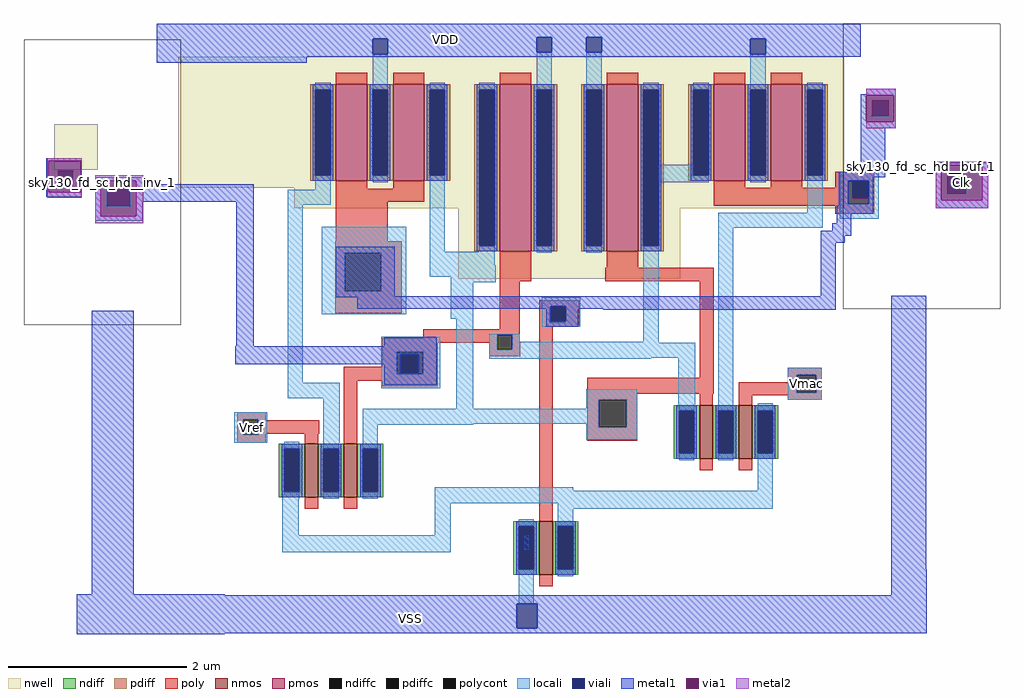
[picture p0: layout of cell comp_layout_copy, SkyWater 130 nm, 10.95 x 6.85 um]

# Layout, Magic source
magic
tech sky130A
magscale 1 2
<< nwell >>
rect -186 -330 -88 -228
rect 92 -370 360 -76
rect 446 -394 644 -372
rect 446 -402 556 -394
rect 1294 -410 1548 -370
rect 814 -530 1118 -518
rect 814 -552 884 -530
rect 1054 -552 1118 -530
<< poly >>
rect 1566 -356 1654 -334
rect 1566 -370 1606 -356
rect 446 -402 644 -372
rect 1294 -392 1606 -370
rect 1640 -392 1654 -356
rect 446 -490 562 -402
rect 1294 -410 1654 -392
rect 1566 -428 1654 -410
rect 444 -516 594 -490
rect 444 -602 466 -516
rect 548 -602 594 -516
rect 444 -652 594 -602
rect 814 -580 884 -528
rect 1054 -550 1124 -512
rect 1050 -580 1294 -550
rect 814 -688 858 -580
rect 642 -700 858 -688
rect 642 -708 808 -700
rect 550 -718 808 -708
rect 550 -738 674 -718
rect 550 -772 582 -738
rect 464 -788 582 -772
rect 642 -788 674 -738
rect 790 -734 808 -718
rect 842 -716 858 -700
rect 902 -638 992 -622
rect 902 -672 926 -638
rect 960 -672 992 -638
rect 902 -682 992 -672
rect 842 -734 860 -716
rect 790 -748 860 -734
rect 464 -803 674 -788
rect 224 -890 288 -874
rect 224 -924 238 -890
rect 272 -892 288 -890
rect 272 -922 408 -892
rect 272 -924 288 -922
rect 224 -942 288 -924
rect 464 -944 494 -803
rect 550 -816 674 -803
rect 902 -1112 932 -682
rect 1262 -796 1294 -580
rect 1010 -832 1294 -796
rect 1460 -790 1536 -774
rect 1460 -806 1480 -790
rect 1350 -830 1480 -806
rect 1524 -830 1536 -790
rect 1010 -846 1122 -832
rect 1350 -836 1536 -830
rect 1460 -846 1536 -836
rect 1010 -908 1036 -846
rect 1098 -908 1122 -846
rect 1010 -938 1122 -908
<< polycont >>
rect 1606 -392 1640 -356
rect 466 -602 548 -516
rect 582 -788 642 -738
rect 808 -734 842 -700
rect 926 -672 960 -638
rect 238 -924 272 -890
rect 1480 -830 1524 -790
rect 1036 -908 1098 -846
<< locali >>
rect 528 -134 562 -70
rect 896 -136 930 -66
rect 1008 -134 1042 -66
rect 1376 -134 1410 -70
rect 1168 -358 1250 -318
rect 1576 -354 1664 -334
rect 400 -374 434 -358
rect 338 -408 434 -374
rect 338 -808 372 -408
rect 414 -516 604 -458
rect 414 -602 466 -516
rect 548 -602 604 -516
rect 656 -514 690 -358
rect 1504 -426 1538 -356
rect 1304 -460 1538 -426
rect 1576 -406 1596 -354
rect 1642 -406 1664 -354
rect 1576 -440 1664 -406
rect 656 -544 802 -514
rect 656 -570 804 -544
rect 414 -654 604 -602
rect 704 -582 804 -570
rect 704 -664 754 -582
rect 548 -738 680 -704
rect 548 -788 582 -738
rect 642 -788 680 -738
rect 338 -842 454 -808
rect 548 -820 680 -788
rect 218 -890 292 -874
rect 218 -924 238 -890
rect 272 -924 292 -890
rect 218 -942 292 -924
rect 418 -942 454 -842
rect 716 -866 754 -664
rect 908 -636 994 -616
rect 908 -638 928 -636
rect 908 -672 926 -638
rect 962 -670 994 -636
rect 960 -672 994 -670
rect 908 -682 994 -672
rect 790 -700 858 -698
rect 790 -734 808 -700
rect 842 -716 858 -700
rect 1136 -716 1170 -514
rect 842 -718 1170 -716
rect 842 -734 1252 -718
rect 790 -752 1252 -734
rect 790 -754 1154 -752
rect 1008 -846 1122 -822
rect 1008 -866 1036 -846
rect 506 -900 1036 -866
rect 506 -902 754 -900
rect 506 -940 540 -902
rect 1008 -908 1036 -900
rect 1098 -908 1122 -846
rect 1214 -856 1252 -752
rect 1304 -856 1338 -460
rect 1460 -790 1536 -774
rect 1460 -830 1480 -790
rect 1524 -830 1536 -790
rect 1460 -846 1536 -830
rect 1008 -936 1122 -908
rect 668 -1050 978 -1042
rect 1392 -1050 1426 -978
rect 326 -1150 362 -1050
rect 668 -1078 1426 -1050
rect 668 -1150 704 -1078
rect 944 -1090 1426 -1078
rect 944 -1118 978 -1090
rect 326 -1188 704 -1150
rect 868 -1184 880 -1150
rect 856 -1304 890 -1238
<< viali >>
rect 528 -70 562 -36
rect 896 -66 930 -32
rect 1008 -66 1042 -32
rect 1376 -70 1410 -36
rect 1648 -210 1686 -174
rect -178 -366 -144 -332
rect -68 -412 -16 -372
rect 1596 -356 1642 -354
rect 1596 -392 1606 -356
rect 1606 -392 1640 -356
rect 1640 -392 1642 -356
rect 1596 -406 1642 -392
rect 1818 -384 1860 -342
rect 590 -786 632 -744
rect 928 -638 962 -636
rect 928 -670 960 -638
rect 960 -670 962 -638
rect 852 -1358 898 -1304
<< metal1 >>
rect 44 -32 1624 -2
rect 44 -36 896 -32
rect 44 -70 528 -36
rect 562 -66 896 -36
rect 930 -66 1008 -32
rect 1042 -36 1624 -32
rect 1042 -66 1376 -36
rect 562 -70 1376 -66
rect 1410 -70 1624 -36
rect 44 -76 1624 -70
rect 44 -90 380 -76
rect 1636 -160 1702 -148
rect 1624 -162 1702 -160
rect 1624 -222 1636 -162
rect 1698 -222 1702 -162
rect 1624 -236 1702 -222
rect -204 -310 -124 -304
rect -204 -380 -198 -310
rect -126 -380 -124 -310
rect 1624 -334 1678 -236
rect 1574 -346 1678 -334
rect 1792 -320 1910 -312
rect -204 -390 -124 -380
rect -94 -354 12 -346
rect -94 -434 -82 -354
rect -2 -362 12 -354
rect 1574 -354 1652 -346
rect -2 -402 262 -362
rect -2 -434 12 -402
rect -94 -444 12 -434
rect -102 -1282 -8 -646
rect 222 -726 262 -402
rect 1574 -406 1596 -354
rect 1642 -406 1652 -354
rect 1574 -410 1652 -406
rect 1570 -428 1652 -410
rect 1792 -398 1804 -320
rect 1896 -398 1910 -320
rect 1792 -416 1910 -398
rect 1570 -450 1602 -428
rect 1560 -466 1602 -450
rect 1534 -478 1602 -466
rect 1534 -494 1588 -478
rect 446 -614 578 -502
rect 1534 -614 1568 -494
rect 446 -616 1568 -614
rect 494 -636 1568 -616
rect 494 -642 928 -636
rect 918 -670 928 -642
rect 962 -642 1568 -636
rect 962 -670 990 -642
rect 1046 -644 1568 -642
rect 918 -682 990 -670
rect 554 -726 672 -706
rect 220 -744 672 -726
rect 220 -766 590 -744
rect 554 -786 590 -766
rect 632 -786 672 -744
rect 554 -812 672 -786
rect 1692 -1226 1770 -612
rect -136 -1284 196 -1282
rect 1692 -1284 1772 -1226
rect -136 -1304 1772 -1284
rect -136 -1358 852 -1304
rect 898 -1358 1772 -1304
rect -136 -1370 1772 -1358
rect -136 -1372 196 -1370
<< via1 >>
rect 1636 -174 1698 -162
rect 1636 -210 1648 -174
rect 1648 -210 1686 -174
rect 1686 -210 1698 -174
rect 1636 -222 1698 -210
rect -198 -332 -126 -310
rect -198 -366 -178 -332
rect -178 -366 -144 -332
rect -144 -366 -126 -332
rect -198 -380 -126 -366
rect -82 -372 -2 -354
rect -82 -412 -68 -372
rect -68 -412 -16 -372
rect -16 -412 -2 -372
rect -82 -434 -2 -412
rect 1804 -342 1896 -320
rect 1804 -384 1818 -342
rect 1818 -384 1860 -342
rect 1860 -384 1896 -342
rect 1804 -398 1896 -384
<< metal2 >>
rect 1636 -162 1702 -148
rect 1698 -222 1702 -162
rect 1636 -236 1702 -222
rect -202 -310 -124 -304
rect -202 -380 -198 -310
rect -126 -380 -124 -310
rect 1792 -320 1910 -314
rect -202 -392 -124 -380
rect -94 -354 14 -342
rect -94 -434 -82 -354
rect -2 -434 14 -354
rect 1792 -398 1804 -320
rect 1896 -398 1910 -320
rect 1792 -416 1910 -398
rect -94 -450 14 -434
use sky130_fd_pr__nfet_01v8_5TZ6LE  sky130_fd_pr__nfet_01v8_5TZ6LE_0
transform 1 0 479 0 1 -1004
box -73 -86 73 86
use sky130_fd_pr__nfet_01v8_5TZ6LE  sky130_fd_pr__nfet_01v8_5TZ6LE_1
transform 1 0 391 0 1 -1004
box -73 -86 73 86
use sky130_fd_pr__nfet_01v8_5TZ6LE  sky130_fd_pr__nfet_01v8_5TZ6LE_2
transform 1 0 1365 0 1 -918
box -73 -86 73 86
use sky130_fd_pr__nfet_01v8_5TZ6LE  sky130_fd_pr__nfet_01v8_5TZ6LE_3
transform 1 0 1277 0 1 -918
box -73 -86 73 86
use sky130_fd_pr__nfet_01v8_5TZ6LE  sky130_fd_pr__nfet_01v8_5TZ6LE_4
transform -1 0 917 0 -1 -1178
box -73 -86 73 86
use sky130_fd_pr__pfet_01v8_XCJR5L  sky130_fd_pr__pfet_01v8_XCJR5L_0
transform 1 0 609 0 1 -246
box -129 -170 129 170
use sky130_fd_pr__pfet_01v8_XCJR5L  sky130_fd_pr__pfet_01v8_XCJR5L_1
transform 1 0 481 0 1 -246
box -129 -170 129 170
use sky130_fd_pr__pfet_01v8_XCJR5L  sky130_fd_pr__pfet_01v8_XCJR5L_2
transform 1 0 1329 0 1 -246
box -129 -170 129 170
use sky130_fd_pr__pfet_01v8_XCJR5L  sky130_fd_pr__pfet_01v8_XCJR5L_3
transform 1 0 1457 0 1 -246
box -129 -170 129 170
use sky130_fd_pr__pfet_01v8_XCZ6WP  sky130_fd_pr__pfet_01v8_XCZ6WP_0
transform 1 0 849 0 1 -325
box -129 -249 129 249
use sky130_fd_pr__pfet_01v8_XCZ6WP  sky130_fd_pr__pfet_01v8_XCZ6WP_1
transform 1 0 1089 0 1 -325
box -129 -249 129 249
use sky130_fd_sc_hd__buf_1  sky130_fd_sc_hd__buf_1_0 ece393/open_pdks/share/pdk/sky130A/libs.ref/sky130_fd_sc_hd/mag
transform -1 0 1898 0 1 -594
box -38 -48 314 592
use sky130_fd_sc_hd__inv_1  sky130_fd_sc_hd__inv_1_1 ece393/open_pdks/share/pdk/sky130A/libs.ref/sky130_fd_sc_hd/mag
transform -1 0 60 0 1 -630
box -38 -48 314 592
<< labels >>
flabel metal2 1804 -398 1896 -320 0 FreeSans 320 0 0 0 Clk
port 0 nsew
flabel polycont 256 -908 256 -908 0 FreeSans 320 0 0 0 Vref
port 1 nsew
flabel polycont 1502 -810 1502 -810 0 FreeSans 320 0 0 0 Vmac
port 2 nsew
flabel metal1 692 -38 692 -38 0 FreeSans 320 0 0 0 VDD
port 5 nsew
flabel metal1 614 -1336 614 -1336 0 FreeSans 320 0 0 0 VSS
port 4 nsew
flabel via1 -164 -350 -164 -350 0 FreeSans 320 0 0 0 Updown
port 3 nsew
<< end >>

# cell sky130_fd_pr__nfet_01v8_5TZ6LE: kit device sky130_fd_pr__nfet_01v8, w 0.6 l 0.15 m 1 nf 1 diffcov 100 polycov 100 guard 0 glc 0 grc 0 gtc 0 gbc 0 tbcov 100 rlcov 100 topc 0 botc 0 poverlap 0 doverlap 0 lmin 0.15 wmin 0.42 compatible {sky130_fd_pr__nfet_01v8 sky130_fd_pr__nfet_01v8_lvt sky130_fd_bs_flash__special_sonosfet_star sky130_fd_pr__nfet_g5v0d10v5 sky130_fd_pr__nfet_05v0_nvt sky130_fd_pr__nfet_03v3_nvt} full_metal 0 viasrc 100 viadrn 100 viagate 100 viagb 0 viagr 0 viagl 0 viagt 0

# cell sky130_fd_pr__pfet_01v8_XCJR5L: kit device sky130_fd_pr__pfet_01v8, w 1.075 l 0.35 m 1 nf 1 diffcov 100 polycov 100 guard 0 glc 0 grc 0 gtc 0 gbc 0 tbcov 100 rlcov 100 topc 0 botc 0 poverlap 0 doverlap 0 lmin 0.15 wmin 0.42 compatible {sky130_fd_pr__pfet_01v8 sky130_fd_pr__pfet_01v8_lvt sky130_fd_pr__pfet_01v8_hvt sky130_fd_pr__pfet_g5v0d10v5} full_metal 0 viasrc 100 viadrn 100 viagate 100 viagb 0 viagr 0 viagl 0 viagt 0

# cell sky130_fd_pr__pfet_01v8_XCZ6WP: kit device sky130_fd_pr__pfet_01v8, w 1.865 l 0.35 m 1 nf 1 diffcov 100 polycov 100 guard 0 glc 0 grc 0 gtc 0 gbc 0 tbcov 100 rlcov 100 topc 0 botc 0 poverlap 0 doverlap 0 lmin 0.15 wmin 0.42 compatible {sky130_fd_pr__pfet_01v8 sky130_fd_pr__pfet_01v8_lvt sky130_fd_pr__pfet_01v8_hvt sky130_fd_pr__pfet_g5v0d10v5} full_metal 0 viasrc 100 viadrn 100 viagate 100 viagb 0 viagr 0 viagl 0 viagt 0
